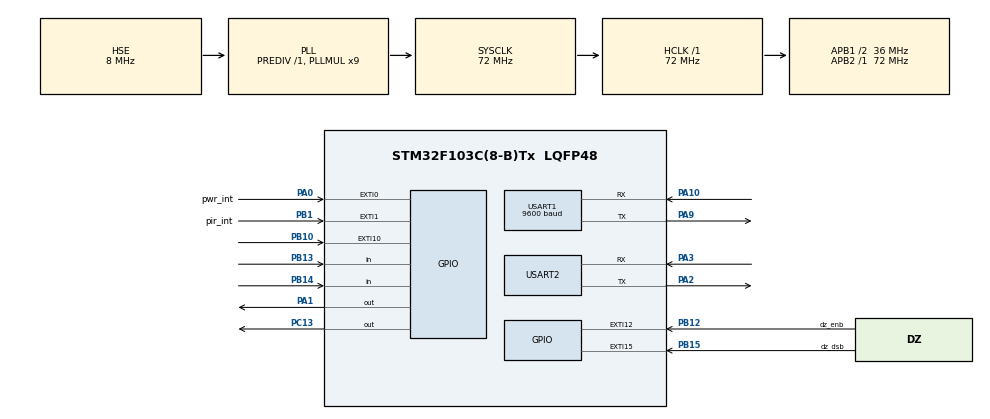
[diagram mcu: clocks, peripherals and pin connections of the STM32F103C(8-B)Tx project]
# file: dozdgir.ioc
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Mcu.Family=STM32F1
Mcu.Name=STM32F103C(8-B)Tx
Mcu.Package=LQFP48
NVIC.EXTI0_IRQn=true\:0\:0\:false\:false\:true\:true\:true\:true
NVIC.EXTI15_10_IRQn=true\:0\:0\:false\:false\:true\:true\:true\:true
NVIC.EXTI1_IRQn=true\:0\:0\:false\:false\:true\:true\:true\:true
NVIC.PriorityGroup=NVIC_PRIORITYGROUP_4
NVIC.RCC_IRQn=true\:0\:0\:false\:false\:true\:true\:false\:true
NVIC.TIM2_IRQn=true\:0\:0\:false\:false\:true\:true\:true\:true
NVIC.TIM4_IRQn=true\:15\:0\:false\:false\:true\:false\:true\:true
NVIC.TimeBase=TIM4_IRQn
NVIC.TimeBaseIP=TIM4
NVIC.USART1_IRQn=true\:0\:0\:false\:false\:true\:true\:true\:true
PA0-WKUP.GPIO_Label=pwr_int
PA0-WKUP.GPIO_ModeDefaultEXTI=GPIO_MODE_IT_FALLING
PA0-WKUP.Signal=GPXTI0
PA1.GPIO_PuPd=GPIO_NOPULL
PA1.Signal=GPIO_Output
PA10.Mode=Asynchronous
PA10.Signal=USART1_RX
PA13.Mode=Serial_Wire
PA13.Signal=SYS_JTMS-SWDIO
PA14.Mode=Serial_Wire
PA14.Signal=SYS_JTCK-SWCLK
PA2.Mode=Asynchronous
PA2.Signal=USART2_TX
PA3.Mode=Asynchronous
PA3.Signal=USART2_RX
PA9.Mode=Asynchronous
PA9.Signal=USART1_TX
PB1.GPIO_Label=pir_int
PB1.Signal=GPXTI1
PB10.Signal=GPXTI10
PB12.GPIO_Label=dz_enb
PB12.GPIO_PuPd=GPIO_PULLDOWN
PB12.Signal=GPXTI12
PB13.Signal=GPIO_Input
PB14.Signal=GPIO_Input
PB15.GPIO_Label=dz_dsb
PB15.GPIO_PuPd=GPIO_PULLDOWN
PB15.Signal=GPXTI15
PC13-TAMPER-RTC.PinState=GPIO_PIN_SET
PC13-TAMPER-RTC.Signal=GPIO_Output
PC14-OSC32_IN.Mode=LSE-External-Oscillator
PC14-OSC32_IN.Signal=RCC_OSC32_IN
PC15-OSC32_OUT.Mode=LSE-External-Oscillator
PC15-OSC32_OUT.Signal=RCC_OSC32_OUT
PD0-OSC_IN.Mode=HSE-External-Oscillator
PD0-OSC_IN.Signal=RCC_OSC_IN
PD1-OSC_OUT.Mode=HSE-External-Oscillator
PD1-OSC_OUT.Signal=RCC_OSC_OUT
ProjectManager.HeapSize=0x400
ProjectManager.StackSize=0x400
ProjectManager.TargetToolchain=STM32CubeIDE
RCC.AHBFreq_Value=72000000
RCC.APB1CLKDivider=RCC_HCLK_DIV2
RCC.APB1Freq_Value=36000000
RCC.APB1TimFreq_Value=72000000
RCC.APB2Freq_Value=72000000
RCC.APB2TimFreq_Value=72000000
RCC.HCLKFreq_Value=72000000
RCC.PLLMUL=RCC_PLL_MUL9
RCC.PLLSourceVirtual=RCC_PLLSOURCE_HSE
RCC.SYSCLKFreq_VALUE=72000000
RCC.SYSCLKSource=RCC_SYSCLKSOURCE_PLLCLK
RCC.USBFreq_Value=72000000
TIM2.ClockDivision=TIM_CLOCKDIVISION_DIV4
TIM2.Period=30000-1
TIM2.Prescaler=36000-1
USART1.BaudRate=9600
USART1.VirtualMode=VM_ASYNC
USART2.VirtualMode=VM_ASYNC
VP_SYS_VS_tim4.Mode=TIM4
VP_TIM2_VS_ClockSourceINT.Mode=Internal
board=custom

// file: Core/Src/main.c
/* USER CODE BEGIN Header */
/**
  ******************************************************************************
  * @file           : main.c
  * @brief          : Main program body
  ******************************************************************************
  * @attention
  *
  * Copyright (c) 2025 STMicroelectronics.
  * All rights reserved.
  *
  * This software is licensed under terms that can be found in the LICENSE file
  * in the root directory of this software component.
  * If no LICENSE file comes with this software, it is provided AS-IS.
  *
  ******************************************************************************
  */
/* USER CODE END Header */
#include "main.h"
#include "tim.h"
#include "usart.h"
#include "gpio.h"

/* USER CODE BEGIN Includes */
#include "stdlib.h"
#include "stdio.h"
/* USER CODE END Includes */

/* USER CODE BEGIN PTD */
static dozdgirState dozdgir_status={0};
/* USER CODE END PTD */

/* USER CODE BEGIN PV */
//extern char uart1_rx_buffer[RX_BUFFER_SIZE];
extern char uart1_rx_temp;
//extern char receive_message[RX_BUFFER_SIZE];
//extern char receive_message_number[30];
char number[] = "+989128442948";
/* USER CODE END PV */

void SystemClock_Config(void);
/* USER CODE BEGIN PFP */
void HAL_UART_RxCpltCallback (UART_HandleTypeDef *huart)
{
		if (huart == &huart1)
		{
				get_answer();
		}
}
/* USER CODE END PFP */

/* USER CODE BEGIN 0 */
const char matn[]="AT\n\r";

/* USER CODE END 0 */

int main(void)
{

  /* MCU Configuration--------------------------------------------------------*/

  /* Reset of all peripherals, Initializes the Flash interface and the Systick. */
  HAL_Init();

  /* Configure the system clock */
  SystemClock_Config();

  /* Initialize all configured peripherals */
  MX_GPIO_Init();
  MX_USART1_UART_Init();
  MX_TIM2_Init();
  MX_USART2_UART_Init();
  /* USER CODE BEGIN 2 */
  HAL_Delay(500);

	if (GSM_init())
	{
//		green_blink(1000);
	}
	else
	{
//		yellow_blink(1000);
	}
  /* USER CODE END 2 */

  /* Infinite loop */
  while (1)
  {

    /* USER CODE BEGIN 3 */

	  switch (dozdgir_status.vaziat) {
		case amade_be_kar:

			break;
		case dozdgir_faal:

			break;
		case ajir_faal:

			break;

		case faal_kardan_dozdgir:
			enableAjir(GPIO_PIN_SET);
			HAL_Delay(100);
			enableAjir(GPIO_PIN_RESET);
			dozdgir_status.vaziat=dozdgir_faal;
			break;

		case faal_kardan_ajir:
			TIM2->CNT=0;
			HAL_TIM_Base_Start_IT(&htim2);
			enableAjir(GPIO_PIN_SET);
			dozdgir_status.vaziat=ajir_faal;
//			GSM_send_message("Dozdgir Faal Shod\n\rS-Help...", number);
			GSM_send_message("062F06500632062F06AF06CC063100200631064806340020062F064E06A90650062A0647D83DDD0A", number);
			break;
		case faal_kardan_ersal_sms:

			break;

		case khamosh_kardan_ajir:
			enableAjir(GPIO_PIN_RESET);
			HAL_TIM_Base_Stop_IT(&htim2);
			dozdgir_status.vaziat=dozdgir_faal;
			break;

		case khamosh_kardan_dozdgir:
			enableAjir(GPIO_PIN_SET);
			HAL_Delay(100);
			enableAjir(GPIO_PIN_RESET);
			dozdgir_status.vaziat=amade_be_kar;
			break;

		case ersal_sms:
			HAL_UART_Transmit_IT(&huart1, matn, sizeof(matn));
			HAL_Delay(100);
			break;

		default:
			break;
	}

//  if (strstr(uart1_rx_buffer, "+CMTI:") != NULL)
//  {
//	  GSM_read_message();
//	  if ((strstr(receive_message, "Test SMS") != NULL) && (strstr(receive_message_number, number) != NULL))
//		{
//				GSM_send_message("sms received", number);
//		}
//
//
//	  memset(receive_message, 0, RX_BUFFER_SIZE);
//	  memset(receive_message_number, 0, RECEIVE_NUMBER_SIZE);
//
//	}
  }
  /* USER CODE END 3 */
}

void SystemClock_Config(void)
{
  RCC_OscInitTypeDef RCC_OscInitStruct = {0};
  RCC_ClkInitTypeDef RCC_ClkInitStruct = {0};

  /** Initializes the RCC Oscillators according to the specified parameters
  * in the RCC_OscInitTypeDef structure.
  */
  RCC_OscInitStruct.OscillatorType = RCC_OSCILLATORTYPE_HSE;
  RCC_OscInitStruct.HSEState = RCC_HSE_ON;
  RCC_OscInitStruct.HSEPredivValue = RCC_HSE_PREDIV_DIV1;
  RCC_OscInitStruct.HSIState = RCC_HSI_ON;
  RCC_OscInitStruct.PLL.PLLState = RCC_PLL_ON;
  RCC_OscInitStruct.PLL.PLLSource = RCC_PLLSOURCE_HSE;
  RCC_OscInitStruct.PLL.PLLMUL = RCC_PLL_MUL9;
  if (HAL_RCC_OscConfig(&RCC_OscInitStruct) != HAL_OK)
  {
    Error_Handler();
  }

  /** Initializes the CPU, AHB and APB buses clocks
  */
  RCC_ClkInitStruct.ClockType = RCC_CLOCKTYPE_HCLK|RCC_CLOCKTYPE_SYSCLK
                              |RCC_CLOCKTYPE_PCLK1|RCC_CLOCKTYPE_PCLK2;
  RCC_ClkInitStruct.SYSCLKSource = RCC_SYSCLKSOURCE_PLLCLK;
  RCC_ClkInitStruct.AHBCLKDivider = RCC_SYSCLK_DIV1;
  RCC_ClkInitStruct.APB1CLKDivider = RCC_HCLK_DIV2;
  RCC_ClkInitStruct.APB2CLKDivider = RCC_HCLK_DIV1;

  if (HAL_RCC_ClockConfig(&RCC_ClkInitStruct, FLASH_LATENCY_2) != HAL_OK)
  {
    Error_Handler();
  }
}

/* USER CODE BEGIN 4 */
void toggleLed(void)
{
	HAL_GPIO_TogglePin(GPIOC, GPIO_PIN_13);
}
void enableAjir(uint8_t state)
{
	HAL_GPIO_WritePin(GPIOA, GPIO_PIN_1, state);
}

void HAL_GPIO_EXTI_Callback(uint16_t GPIO_Pin)
{
	if (GPIO_Pin == pir_int_Pin)
	{ /* Enable Ajir */

		if(dozdgir_status.vaziat==dozdgir_faal ||\
				dozdgir_status.vaziat==ajir_faal)
		{
			dozdgir_status.vaziat=faal_kardan_ajir;
		}
	}

	if (GPIO_Pin == dz_enb_Pin)
	{ /* Enable dozdgir */

		if (dozdgir_status.vaziat!=ajir_faal)
		{
			dozdgir_status.vaziat=faal_kardan_dozdgir;
		}

	}

	if (GPIO_Pin == dz_dsb_Pin)
	{ /* Disable dozdgir */

		dozdgir_status.vaziat=khamosh_kardan_dozdgir;

	}

	if (GPIO_Pin == pwr_int_Pin)
	{ //Power Loss Happened

	}
}

/* USER CODE END 4 */

void HAL_TIM_PeriodElapsedCallback(TIM_HandleTypeDef *htim)
{
  if (htim->Instance == TIM4) {
    HAL_IncTick();
  }
  /* USER CODE BEGIN Callback 1 */
  if(htim->Instance == TIM2)
  {
	  if(dozdgir_status.vaziat==ajir_faal)
	  {
		  dozdgir_status.vaziat=khamosh_kardan_ajir;
	  }
  }
  /* USER CODE END Callback 1 */
}

void Error_Handler(void)
{
  __disable_irq();
  while (1)
  {
  }
}
